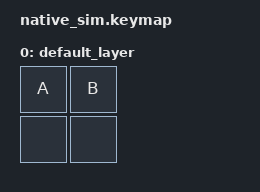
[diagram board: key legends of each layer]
#include <dt-bindings/zmk/keys.h>
#include <behaviors.dtsi>
#include <dt-bindings/zmk/input_mock.h>

/ {
    combos {
        compatible = "zmk,combos";
        combo_one {
            timeout-ms = <30>;
            key-positions = <0 1>;
            bindings = <&kp C>;
        };
    };

    keymap {
        compatible = "zmk,keymap";

        default_layer {
            bindings = <
                &kp A &kp B
                &none &none
            >;
        };
    };
};

&mock_input {
    events = <
        /* all different combinations of press and release order */
        ZMK_INPUT_MOCK_PRESS(0,0,10)
        ZMK_INPUT_MOCK_PRESS(0,1,10)
        ZMK_INPUT_MOCK_RELEASE(0,0,10)
        ZMK_INPUT_MOCK_RELEASE(0,1,10)

        ZMK_INPUT_MOCK_PRESS(0,1,10)
        ZMK_INPUT_MOCK_PRESS(0,0,10)
        ZMK_INPUT_MOCK_RELEASE(0,0,10)
        ZMK_INPUT_MOCK_RELEASE(0,1,10)

        ZMK_INPUT_MOCK_PRESS(0,0,10)
        ZMK_INPUT_MOCK_PRESS(0,1,10)
        ZMK_INPUT_MOCK_RELEASE(0,1,10)
        ZMK_INPUT_MOCK_RELEASE(0,0,10)

        ZMK_INPUT_MOCK_PRESS(0,1,10)
        ZMK_INPUT_MOCK_PRESS(0,0,10)
        ZMK_INPUT_MOCK_RELEASE(0,1,10)
        ZMK_INPUT_MOCK_RELEASE(0,0,10)
    >;
};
